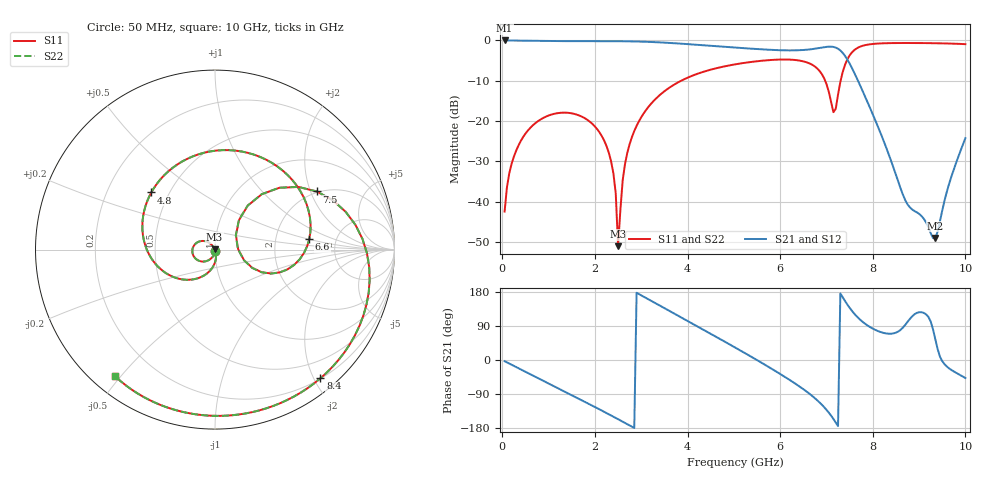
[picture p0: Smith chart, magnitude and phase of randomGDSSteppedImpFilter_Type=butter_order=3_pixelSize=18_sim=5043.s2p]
! freq	dB(S11)	phase(S11)	dB(S12)	phase(S12)
!  dB(S21)	phase(S21)	dB(S22)	phase(S22)
!S-par simulation data
#  GHz  S  DB  R 50
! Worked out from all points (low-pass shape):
!   200 points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, 50 MHz to 10 GHz, reference 50 ohm
!   highest |S21| = 0.00 dB at 50 MHz (marker M1); lowest = -49.1 dB at 9.35 GHz (marker M2)
!   |S21| within 3 dB of the highest: start of sweep to 7.343 GHz
!   lowest |S11| = -51.1 dB at 2.5 GHz (marker M3), VSWR 1.01, Z = 49.8 + j0.188 ohm
!   |S11| at or under -10 dB: start of sweep to 3.863 GHz; 6.971 GHz to 7.306 GHz (334.7 MHz wide, 4.69 % of centre)
!   |S22| runs from -51.5 to -0.6 dB; largest |S21 - S12| = 0
!   S11 on the Smith chart (normalised r, x): 50 MHz: 1.00, -0.01; 4.8 GHz: 0.40, +0.33; 6.6 GHz: 3.15, +0.51; 7.5 GHz: 1.96, +2.21; 8.4 GHz: 0.21, -2.09; 10 GHz: 0.07, -0.48
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0.05  -42.49 -92.2  -0.00 -3.2  -0.00 -3.2  -42.49 -92.2
0.2  -30.65 -101.2  -0.03 -12.5  -0.03 -12.5  -30.65 -101.2
0.55  -22.40 -124.7  -0.08 -34.2  -0.08 -34.2  -22.40 -124.7
1.75  -19.11 161.2  -0.18 -108.3  -0.18 -108.3  -19.11 161.1
2.3  -27.87 127.4  -0.18 -143.2  -0.18 -143.2  -27.87 127.0
2.45  -38.01 121.4  -0.19 -152.9  -0.19 -152.9  -38.03 120.0
2.5  -51.08 137.6  -0.19 -156.2  -0.19 -156.2  -51.46 131.5
2.6  -34.70 -77.5  -0.20 -162.7  -0.20 -162.7  -34.70 -76.5
2.75  -25.72 -85.0  -0.23 -172.7  -0.23 -172.7  -25.72 -84.6
3.4  -13.56 -127.4  -0.48 143.7  -0.48 143.7  -13.56 -127.3
4.1  -8.77 -174.5  -0.99 96.3  -0.99 96.3  -8.77 -174.4
4.8  -6.43 138.1  -1.58 48.7  -1.58 48.7  -6.43 138.1
5.05  -5.89 120.9  -1.79 31.4  -1.79 31.4  -5.89 120.9
5.8  -4.85 67.8  -2.34 -21.9  -2.34 -21.9  -4.85 67.8
6.6  -5.54 6.3  -2.27 -86.0  -2.27 -86.0  -5.54 6.2
6.7  -6.09 -2.2  -2.14 -95.6  -2.14 -95.6  -6.09 -2.3
7.15  -17.82 1.4  -1.61 -155.6  -1.61 -155.6  -17.88 1.2
7.5  -3.71 29.8  -5.74 137.8  -5.74 137.8  -3.71 29.8
8.35  -0.67 -47.7  -28.44 69.3  -28.44 69.3  -0.67 -47.7
8.4  -0.66 -50.7  -30.04 69.4  -30.04 69.4  -0.66 -50.7
9.35  -0.69 -98.0  -49.06 55.1  -49.06 55.1  -0.69 -98.0
10  -0.92 -128.2  -24.25 -47.6  -24.25 -47.6  -0.92 -128.2
